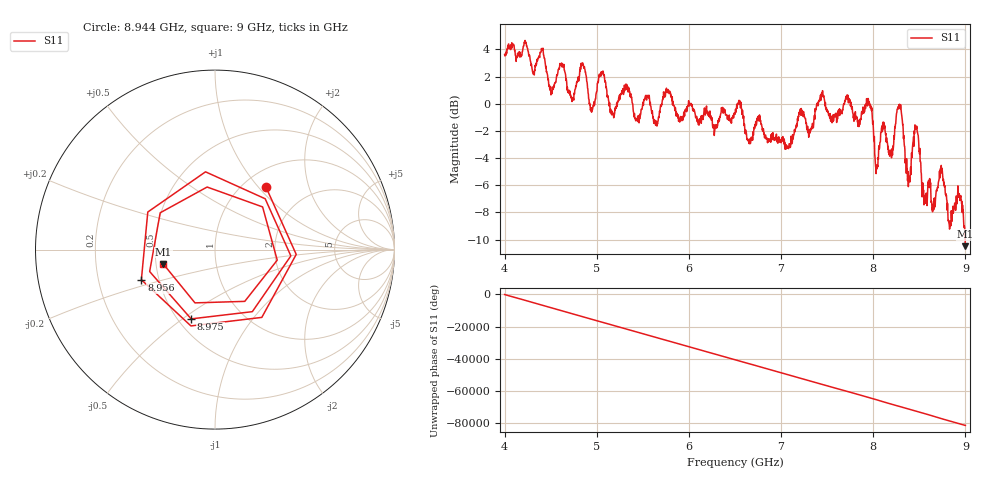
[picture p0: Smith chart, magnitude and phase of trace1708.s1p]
! Created with skrf 1.8.0 (http://scikit-rf.org).
# Hz S RI R 50.0
!freq ReS11 ImS11
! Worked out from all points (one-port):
!   1601 points, 4 GHz to 9 GHz, reference 50 ohm
!   lowest |S11| = -10.5 dB at 9 GHz (marker M1), VSWR 1.85, Z = 27.3 - j4.78 ohm
!   |S11| at or under -10 dB: 8.997141 GHz to end of sweep
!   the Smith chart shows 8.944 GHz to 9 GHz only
!   S11 on the Smith chart (normalised r, x): 8.944 GHz: 1.25, +1.10; 8.956 GHz: 0.40, -0.17; 8.975 GHz: 0.58, -0.54; 9 GHz: 0.55, -0.10
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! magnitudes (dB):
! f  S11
! 4 GHz  3.6
! 4.409 GHz  4.0
! 4.506 GHz  0.8
! 4.625 GHz  2.8
! 4.731 GHz  0.2
! 4.853 GHz  2.9
! 4.944 GHz  -0.6
! 5.047 GHz  2.3
! 5.169 GHz  -0.7
! 5.25 GHz  0.3
! 5.875 GHz  -0.9
! 6.5 GHz  -0.8
! 7.125 GHz  -2.3
! 7.438 GHz  0.6
! 7.75 GHz  0.3
! 7.959 GHz  0.0
! 8.041 GHz  -4.5
! 8.106 GHz  -1.4
! 8.197 GHz  -4.0
! 8.284 GHz  0.0
! 8.375 GHz  -5.5
! 8.469 GHz  -1.8
! 8.559 GHz  -6.9
! 8.738 GHz  -4.5
! 8.944 GHz  -6.9
! 8.956 GHz  -7.1
! 8.975 GHz  -7.8
! 9 GHz  -10.5
